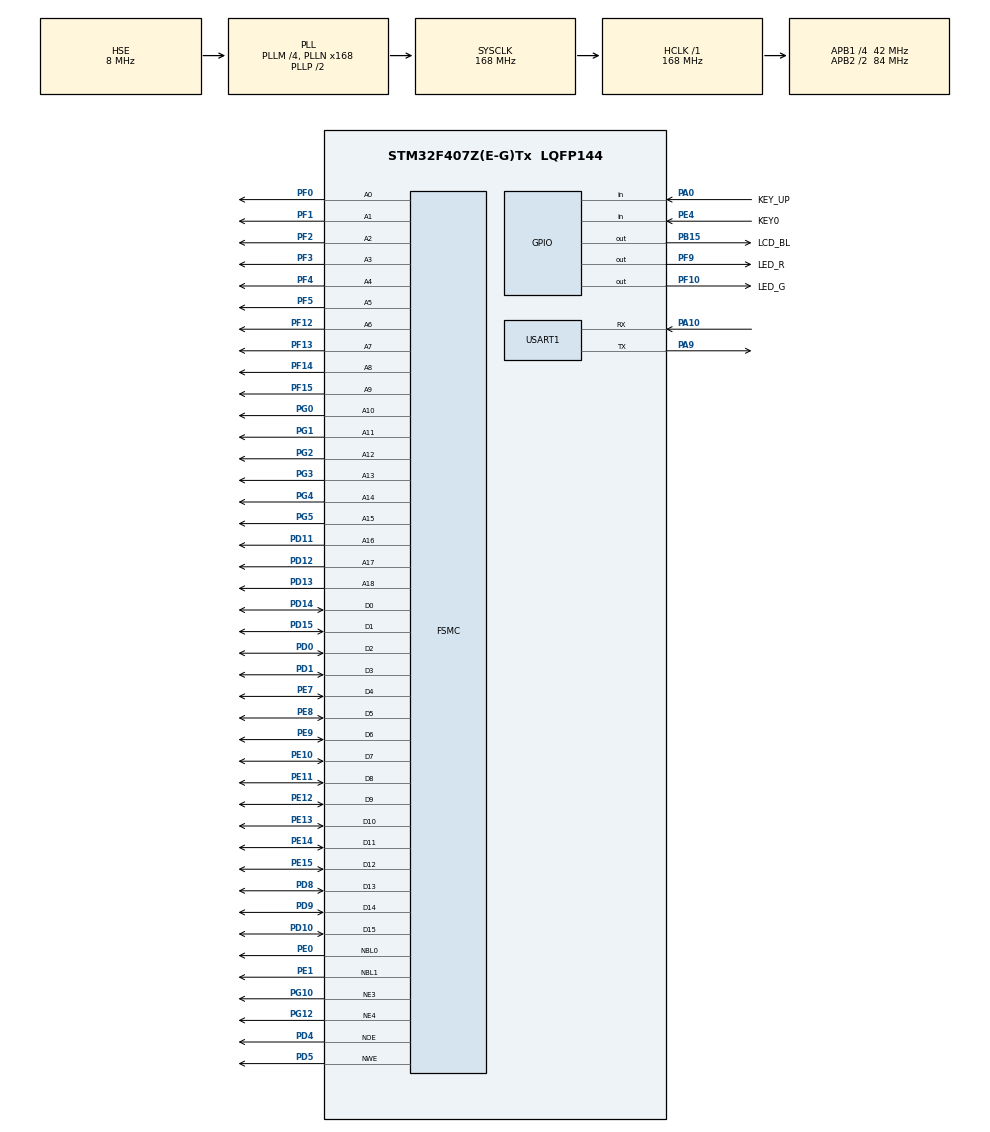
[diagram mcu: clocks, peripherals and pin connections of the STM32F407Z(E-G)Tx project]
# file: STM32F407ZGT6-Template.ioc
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FSMC.AddressSetupTime3=0
FSMC.AddressSetupTime4=2
FSMC.BusTurnAroundDuration3=0
FSMC.BusTurnAroundDuration4=0
FSMC.DataSetupTime3=8
FSMC.DataSetupTime4=16
FSMC.ExtendedAddressSetupTime4=4
FSMC.ExtendedBusTurnAroundDuration4=0
FSMC.ExtendedDataSetupTime4=9
FSMC.ExtendedMode4=FSMC_EXTENDED_MODE_ENABLE
FSMC.WriteOperation3=FSMC_WRITE_OPERATION_ENABLE
Mcu.Family=STM32F4
Mcu.Name=STM32F407Z(E-G)Tx
Mcu.Package=LQFP144
NVIC.PriorityGroup=NVIC_PRIORITYGROUP_4
NVIC.TIM7_IRQn=true\:0\:0\:false\:false\:true\:true\:true\:true
NVIC.USART1_IRQn=true\:0\:0\:false\:false\:true\:true\:true\:true
PA0-WKUP.GPIO_Label=KEY_UP
PA0-WKUP.GPIO_PuPd=GPIO_PULLDOWN
PA0-WKUP.Signal=GPIO_Input
PA10.Mode=Asynchronous
PA10.Signal=USART1_RX
PA13.Mode=Serial_Wire
PA13.Signal=SYS_JTMS-SWDIO
PA14.Mode=Serial_Wire
PA14.Signal=SYS_JTCK-SWCLK
PA9.Mode=Asynchronous
PA9.Signal=USART1_TX
PB15.GPIO_Label=LCD_BL
PB15.Signal=GPIO_Output
PD0.Signal=FSMC_D2_DA2
PD1.Signal=FSMC_D3_DA3
PD10.Signal=FSMC_D15_DA15
PD11.Signal=FSMC_A16_CLE
PD12.Signal=FSMC_A17_ALE
PD13.Signal=FSMC_A18
PD14.Signal=FSMC_D0_DA0
PD15.Signal=FSMC_D1_DA1
PD4.Signal=FSMC_NOE
PD5.Signal=FSMC_NWE
PD8.Signal=FSMC_D13_DA13
PD9.Signal=FSMC_D14_DA14
PE0.Signal=FSMC_NBL0
PE1.Signal=FSMC_NBL1
PE10.Signal=FSMC_D7_DA7
PE11.Signal=FSMC_D8_DA8
PE12.Signal=FSMC_D9_DA9
PE13.Signal=FSMC_D10_DA10
PE14.Signal=FSMC_D11_DA11
PE15.Signal=FSMC_D12_DA12
PE4.GPIO_Label=KEY0
PE4.GPIO_PuPd=GPIO_PULLDOWN
PE4.Signal=GPIO_Input
PE7.Signal=FSMC_D4_DA4
PE8.Signal=FSMC_D5_DA5
PE9.Signal=FSMC_D6_DA6
PF0.Signal=FSMC_A0
PF1.Signal=FSMC_A1
PF10.GPIO_Label=LED_G
PF10.GPIO_PuPd=GPIO_PULLUP
PF10.PinState=GPIO_PIN_SET
PF10.Signal=GPIO_Output
PF12.Signal=FSMC_A6
PF13.Signal=FSMC_A7
PF14.Signal=FSMC_A8
PF15.Signal=FSMC_A9
PF2.Signal=FSMC_A2
PF3.Signal=FSMC_A3
PF4.Signal=FSMC_A4
PF5.Signal=FSMC_A5
PF9.GPIO_Label=LED_R
PF9.GPIO_PuPd=GPIO_PULLUP
PF9.PinState=GPIO_PIN_SET
PF9.Signal=GPIO_Output
PG0.Signal=FSMC_A10
PG1.Signal=FSMC_A11
PG10.Mode=NorPsramChipSelect3_3
PG10.Signal=FSMC_NE3
PG12.Mode=NorPsramChipSelect4_4
PG12.Signal=FSMC_NE4
PG2.Signal=FSMC_A12
PG3.Signal=FSMC_A13
PG4.Signal=FSMC_A14
PG5.Signal=FSMC_A15
PH0-OSC_IN.Mode=HSE-External-Oscillator
PH0-OSC_IN.Signal=RCC_OSC_IN
PH1-OSC_OUT.Mode=HSE-External-Oscillator
PH1-OSC_OUT.Signal=RCC_OSC_OUT
ProjectManager.HeapSize=0x200
ProjectManager.StackSize=0x400
ProjectManager.TargetToolchain=MDK-ARM V5.27
RCC.48MHZClocksFreq_Value=48000000
RCC.AHBFreq_Value=168000000
RCC.APB1CLKDivider=RCC_HCLK_DIV4
RCC.APB1Freq_Value=42000000
RCC.APB1TimFreq_Value=84000000
RCC.APB2CLKDivider=RCC_HCLK_DIV2
RCC.APB2Freq_Value=84000000
RCC.APB2TimFreq_Value=168000000
RCC.CortexFreq_Value=168000000
RCC.FLatency=FLASH_LATENCY_5
RCC.HCLKFreq_Value=168000000
RCC.HSE_VALUE=8000000
RCC.HSI_VALUE=16000000
RCC.LSE_VALUE=32768
RCC.PLLM=4
RCC.PLLN=168
RCC.PLLQ=7
RCC.PLLSourceVirtual=RCC_PLLSOURCE_HSE
RCC.SYSCLKFreq_VALUE=168000000
RCC.SYSCLKSource=RCC_SYSCLKSOURCE_PLLCLK
RCC.VCOOutputFreq_Value=336000000
SH.FSMC_A0.0=FSMC_A0,19b-a3
SH.FSMC_A1.0=FSMC_A1,19b-a3
SH.FSMC_A10.0=FSMC_A10,19b-a3
SH.FSMC_A11.0=FSMC_A11,19b-a3
SH.FSMC_A12.0=FSMC_A12,19b-a3
SH.FSMC_A13.0=FSMC_A13,19b-a3
SH.FSMC_A14.0=FSMC_A14,19b-a3
SH.FSMC_A15.0=FSMC_A15,19b-a3
SH.FSMC_A16_CLE.0=FSMC_A16,19b-a3
SH.FSMC_A17_ALE.0=FSMC_A17,19b-a3
SH.FSMC_A18.0=FSMC_A18,19b-a3
SH.FSMC_A2.0=FSMC_A2,19b-a3
SH.FSMC_A3.0=FSMC_A3,19b-a3
SH.FSMC_A4.0=FSMC_A4,19b-a3
SH.FSMC_A5.0=FSMC_A5,19b-a3
SH.FSMC_A6.0=FSMC_A6,A6_4
SH.FSMC_A6.1=FSMC_A6,19b-a3
SH.FSMC_A7.0=FSMC_A7,19b-a3
SH.FSMC_A8.0=FSMC_A8,19b-a3
SH.FSMC_A9.0=FSMC_A9,19b-a3
SH.FSMC_D0_DA0.0=FSMC_D0,16b-d4
SH.FSMC_D0_DA0.1=FSMC_D0,16b-d3
SH.FSMC_D10_DA10.0=FSMC_D10,16b-d4
SH.FSMC_D10_DA10.1=FSMC_D10,16b-d3
SH.FSMC_D11_DA11.0=FSMC_D11,16b-d4
SH.FSMC_D11_DA11.1=FSMC_D11,16b-d3
SH.FSMC_D12_DA12.0=FSMC_D12,16b-d4
SH.FSMC_D12_DA12.1=FSMC_D12,16b-d3
SH.FSMC_D13_DA13.0=FSMC_D13,16b-d4
SH.FSMC_D13_DA13.1=FSMC_D13,16b-d3
SH.FSMC_D14_DA14.0=FSMC_D14,16b-d4
SH.FSMC_D14_DA14.1=FSMC_D14,16b-d3
SH.FSMC_D15_DA15.0=FSMC_D15,16b-d4
SH.FSMC_D15_DA15.1=FSMC_D15,16b-d3
SH.FSMC_D1_DA1.0=FSMC_D1,16b-d4
SH.FSMC_D1_DA1.1=FSMC_D1,16b-d3
SH.FSMC_D2_DA2.0=FSMC_D2,16b-d4
SH.FSMC_D2_DA2.1=FSMC_D2,16b-d3
SH.FSMC_D3_DA3.0=FSMC_D3,16b-d4
SH.FSMC_D3_DA3.1=FSMC_D3,16b-d3
SH.FSMC_D4_DA4.0=FSMC_D4,16b-d4
SH.FSMC_D4_DA4.1=FSMC_D4,16b-d3
SH.FSMC_D5_DA5.0=FSMC_D5,16b-d4
SH.FSMC_D5_DA5.1=FSMC_D5,16b-d3
SH.FSMC_D6_DA6.0=FSMC_D6,16b-d4
SH.FSMC_D6_DA6.1=FSMC_D6,16b-d3
SH.FSMC_D7_DA7.0=FSMC_D7,16b-d4
SH.FSMC_D7_DA7.1=FSMC_D7,16b-d3
SH.FSMC_D8_DA8.0=FSMC_D8,16b-d4
SH.FSMC_D8_DA8.1=FSMC_D8,16b-d3
SH.FSMC_D9_DA9.0=FSMC_D9,16b-d4
SH.FSMC_D9_DA9.1=FSMC_D9,16b-d3
SH.FSMC_NBL0.0=FSMC_NBL0,2ByteEnable3
SH.FSMC_NBL1.0=FSMC_NBL1,2ByteEnable3
SH.FSMC_NOE.0=FSMC_NOE,Lcd4
SH.FSMC_NOE.1=FSMC_NOE,Sram3
SH.FSMC_NWE.0=FSMC_NWE,Lcd4
SH.FSMC_NWE.1=FSMC_NWE,Sram3
TIM6.Period=10000
TIM6.Prescaler=84
TIM7.Period=10000-1
TIM7.Prescaler=8400-1
USART1.VirtualMode=VM_ASYNC
VP_RNG_VS_RNG.Mode=RNG_Activate
VP_TIM6_VS_ClockSourceINT.Mode=Enable_Timer
VP_TIM7_VS_ClockSourceINT.Mode=Enable_Timer
board=custom

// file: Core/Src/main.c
/* USER CODE BEGIN Header */
/**
  ******************************************************************************
  * @file           : main.c
  * @brief          : Main program body
  ******************************************************************************
  * @attention
  *
  * Copyright (c) 2023 STMicroelectronics.
  * All rights reserved.
  *
  * This software is licensed under terms that can be found in the LICENSE file
  * in the root directory of this software component.
  * If no LICENSE file comes with this software, it is provided AS-IS.
  *
  ******************************************************************************
  */
/* USER CODE END Header */
#include "main.h"
#include "rng.h"
#include "tim.h"
#include "usart.h"
#include "gpio.h"
#include "fsmc.h"

/* USER CODE BEGIN PV */
uint8_t idle_rec_buf[100];
/* USER CODE END PV */

void SystemClock_Config(void);

/* USER CODE BEGIN 0 */

/* 告知连接器不从C库链接使用半主机的函数 */
#pragma import(__use_no_semihosting)

/* 定义 _sys_exit() 以避免使用半主机模式 */
void _sys_exit(int x)
{
	x = x;
}

/* 标准库需要的支持类型 */
struct __FILE
{
	int handle;
};

FILE __stdout;

/* USER CODE END 0 */

int main(void)
{

  /* MCU Configuration--------------------------------------------------------*/

  /* Reset of all peripherals, Initializes the Flash interface and the Systick. */
  HAL_Init();

  /* Configure the system clock */
  SystemClock_Config();

  /* Initialize all configured peripherals */
  MX_GPIO_Init();
  MX_USART1_UART_Init();
  MX_TIM7_Init();
  MX_RNG_Init();
  MX_FSMC_Init();
  MX_TIM6_Init();
  /* USER CODE BEGIN 2 */
	printf("程序功能:使用FSMC的块1(BANK1)来驱动SRAM, 块1地址范围总大小为256MB,均分成4块\r\n");
	printf("存储块1(FSMC_NE1)地址范围: 0X6000 0000 ~ 0X63FF FFFF\r\n");
	printf("存储块2(FSMC_NE2)地址范围: 0X6400 0000 ~ 0X67FF FFFF\r\n");
	printf("存储块3(FSMC_NE3)地址范围: 0X6800 0000 ~ 0X6BFF FFFF\r\n");
	printf("存储块4(FSMC_NE4)地址范围: 0X6C00 0000 ~ 0X6FFF FFFF\r\n");

	my_mem_init(SRAMEX);	/* 添加SRAM到MALLOC管理 */

	uint8_t *wrt = NULL;
	uint8_t *dis = NULL;

	lcd_init(0, WHITE);
	lcd_show_string(10, 0+24*0, 24, "4.2 SRAM MALLOC", RED);
	HAL_TIM_Base_Start_IT(&htim7);
	HAL_UARTEx_ReceiveToIdle_IT(&huart1, idle_rec_buf, 100);	/* 每次使用发生中断后不会自动恢复,要再次使用这个函数 */
  /* USER CODE END 2 */

  /* Infinite loop */
  /* USER CODE BEGIN WHILE */
  while (1)
  {
		uint8_t key = Get_key_with_undo(20);
		if(key == key_up_down)
		{
			wrt = mymalloc(SRAMEX, 2*1024);	/* 给地址分配内存 */
			if(wrt != NULL)
			{
				sprintf((char*)wrt, "hello worldqqqqqqqqqqqqqqqqqqqqqqqqqqqqqqqqqqqqqqqqqqqqqqqqqqqqqqqqqqqqqqqppp\
														 helloworldqqqqqqqqqqqqqqqqqqqqqqqqqqqqqqqqqqqqqqqqqqqqqqqqqqqqqqqqqqqqqqqppp\
														 helloworldqqqqqqqqqqqqqqqqqqqqqqqqqqqqqqqqqqqqqqqqqqqqqqqqqqqqqqqqqqqqqqqppp\
														 qqqqqqqqqqqqqqqqqqqqqqqqqqqqqqqqqqqq");
				printf("%s\r\n", wrt);
			}

		}

		if(key == key0_down)
		{
			myfree(SRAMEX, wrt);	/* 释放分配的内存 */
		}

		dis = mymalloc(SRAMEX, 1*1024);		/* 给地址分配内存 */
		uint16_t memused = my_mem_perused(SRAMEX);
		sprintf((char *)dis, " SRAMEX(963Kb) used %d.%01d%%", memused / 10, memused % 10);
		lcd_show_string(10, 0+24*2, 32, (char*)dis, RED);
		myfree(SRAMEX,dis);	/* 释放分配的内存 */
    /* USER CODE END WHILE */

  }
}

void SystemClock_Config(void)
{
  RCC_OscInitTypeDef RCC_OscInitStruct = {0};
  RCC_ClkInitTypeDef RCC_ClkInitStruct = {0};

  /** Configure the main internal regulator output voltage
  */
  __HAL_RCC_PWR_CLK_ENABLE();
  __HAL_PWR_VOLTAGESCALING_CONFIG(PWR_REGULATOR_VOLTAGE_SCALE1);

  /** Initializes the RCC Oscillators according to the specified parameters
  * in the RCC_OscInitTypeDef structure.
  */
  RCC_OscInitStruct.OscillatorType = RCC_OSCILLATORTYPE_HSE;
  RCC_OscInitStruct.HSEState = RCC_HSE_ON;
  RCC_OscInitStruct.PLL.PLLState = RCC_PLL_ON;
  RCC_OscInitStruct.PLL.PLLSource = RCC_PLLSOURCE_HSE;
  RCC_OscInitStruct.PLL.PLLM = 4;
  RCC_OscInitStruct.PLL.PLLN = 168;
  RCC_OscInitStruct.PLL.PLLP = RCC_PLLP_DIV2;
  RCC_OscInitStruct.PLL.PLLQ = 7;
  if (HAL_RCC_OscConfig(&RCC_OscInitStruct) != HAL_OK)
  {
    Error_Handler();
  }

  /** Initializes the CPU, AHB and APB buses clocks
  */
  RCC_ClkInitStruct.ClockType = RCC_CLOCKTYPE_HCLK|RCC_CLOCKTYPE_SYSCLK
                              |RCC_CLOCKTYPE_PCLK1|RCC_CLOCKTYPE_PCLK2;
  RCC_ClkInitStruct.SYSCLKSource = RCC_SYSCLKSOURCE_PLLCLK;
  RCC_ClkInitStruct.AHBCLKDivider = RCC_SYSCLK_DIV1;
  RCC_ClkInitStruct.APB1CLKDivider = RCC_HCLK_DIV4;
  RCC_ClkInitStruct.APB2CLKDivider = RCC_HCLK_DIV2;

  if (HAL_RCC_ClockConfig(&RCC_ClkInitStruct, FLASH_LATENCY_5) != HAL_OK)
  {
    Error_Handler();
  }
}

/* USER CODE BEGIN 4 */

/* 定时器回调函数 */
void HAL_TIM_PeriodElapsedCallback(TIM_HandleTypeDef *htim)
{
	/* 定时一秒 */
	if(htim == &htim7)
	{
		HAL_GPIO_TogglePin(LED_G_GPIO_Port, LED_G_Pin);
	}
}

/* 串口IDLE中断函数 */
void HAL_UARTEx_RxEventCallback(UART_HandleTypeDef *huart, uint16_t Size)
{
	if(huart == &huart1)
	{
		idle_rec_buf[Size] = '\0';

		HAL_UART_Transmit(&huart1, idle_rec_buf, strlen((char*)idle_rec_buf), 0xff);

		HAL_UARTEx_ReceiveToIdle_IT(&huart1, idle_rec_buf, 100);	/* 再次打开串口IDLE中断接收函数 */
	}
}
/* USER CODE END 4 */

void Error_Handler(void)
{
  __disable_irq();
  while (1)
  {
  }
}
